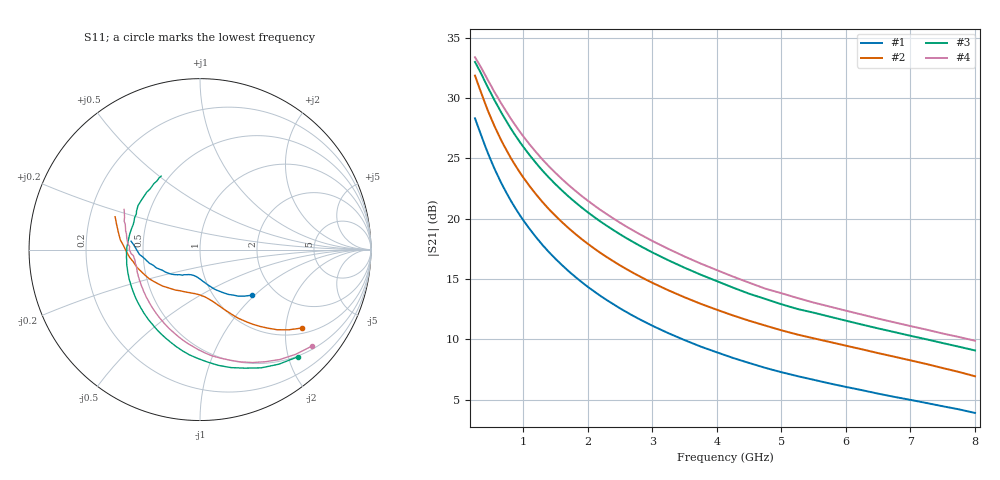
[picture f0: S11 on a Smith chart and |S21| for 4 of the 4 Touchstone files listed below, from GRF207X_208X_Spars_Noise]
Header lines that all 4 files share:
! Data measured by Modelithics, Inc.
! support@modelithics.com 813-866-6335 Tampa FL USA
# GHZ S MA R 50
! Scattering Parameters
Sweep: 250 MHz to 8 GHz
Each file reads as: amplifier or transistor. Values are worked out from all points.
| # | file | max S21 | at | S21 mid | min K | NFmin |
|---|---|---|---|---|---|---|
| 1 | GRF2070_2080_5V_70mA_25C.s2p | 28.3 dB | 250 MHz | 13.2 dB at 2.3 GHz | 1.01 | 0.16 dB |
| 2 | GRF2071_2081_5V_70mA_25C.s2p | 31.8 dB | 250 MHz | 17.1 dB at 2.2 GHz | 0.63 | 0.07 dB |
| 3 | GRF2072_2082_5V_70mA_25C.s2p | 33.0 dB | 250 MHz | 19.7 dB at 2.2 GHz | 0.32 | 0.07 dB |
| 4 | GRF2073_2083_5V_70mA_25C.s2p | 33.4 dB | 250 MHz | 20.7 dB at 2.2 GHz | 0.36 | 0.02 dB |
